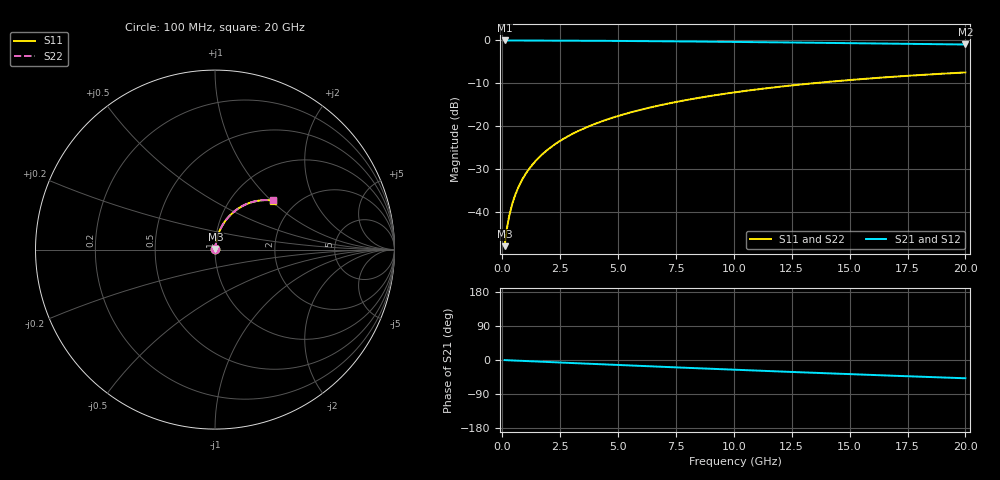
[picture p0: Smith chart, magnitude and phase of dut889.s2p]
! Touchstone file exported from HFSS 2026.1.0
!  File:  C:/ffzhzh/LocalFiles/Ansys_Project_Files/temp_train_TMRDL_889_1783157613_22436.aedt
!  Generated:  05:34:55 PM Jul  4, 2026
!  Design:  TMRDL
!  Project:  temp_train_TMRDL_889_1783157613_22436
! Variables:
!  h_bsmrdl = 2um
!  h_ox = 20um
!  h_rdl = 5um
!  h_sub = 80um
!  h_tmrdl = 4.75um
!  h_tsv = 80um
!  h_via = 3um
!  l_bsmrdl = 300um
!  l_sub = 1128.06um
!  l_tmrdl = 728.06um
!  m_sub = 200um
!  pitch = 49.74um
!  r_tsv = 6um
!  s_tmrdl = 10um
!  w_bsmrdl = 18um
!  w_sub = 500um
!  w_tmrdl = 21.34um
!  x_tsv_center1 = 738.73um
!  x_tsv_center2 = 1056.73um
!  x_tsv_center3 = 1806.13um
!  x_tsv_center4 = 2124.13um
!  x_tsv_center5 = 2873.53um
!  x_tsv_center6 = 3191.53um
# GHz S MA R 50.000000
! Terminal data exported
! Port[1] = TM_RDL1_1_T1
! Port[2] = TM_RDL1_1_T2
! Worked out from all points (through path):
!   200 points, 100 MHz to 20 GHz, reference 50 ohm
!   highest |S21| = -0.02 dB at 100 MHz (marker M1); lowest = -1.0 dB at 20 GHz (marker M2)
!   group delay of S21, straight-line fit = 6.7 ps
!   lowest |S11| = -48.0 dB at 100 MHz (marker M3), VSWR 1.01, Z = 50.3 + j0.295 ohm
!   |S11| at or under -10 dB: start of sweep to 13.42 GHz
!   |S22| runs from -48.0 to -7.5 dB; largest |S21 - S12| = 2.2e-15
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0.1  0.004001 47.2  0.9973 -0.3  0.9973 -0.3  0.004001 47.2
! Gamma 0 0 0 0
! Port Impedance 50 0 50 0
0.2  0.006448 63.0  0.9971 -0.6  0.9971 -0.6  0.006448 63.0
0.3  0.009026 69.6  0.9969 -0.8  0.9969 -0.8  0.009026 69.6
0.4  0.01163 73.3  0.9968 -1.1  0.9968 -1.1  0.01163 73.3
0.5  0.01426 75.7  0.9967 -1.4  0.9967 -1.4  0.01426 75.7
0.6  0.0169 77.2  0.9966 -1.6  0.9966 -1.6  0.0169 77.2
0.8  0.02221 79.1  0.9964 -2.2  0.9964 -2.2  0.02221 79.1
1.1  0.03024 80.4  0.996 -3.0  0.996 -3.0  0.03024 80.4
1.5  0.04094 80.7  0.9954 -4.0  0.9954 -4.0  0.04094 80.8
1.8  0.04895 80.6  0.9949 -4.8  0.9949 -4.8  0.04895 80.6
2.1  0.05693 80.2  0.9943 -5.6  0.9943 -5.6  0.05693 80.2
2.7  0.07274 79.2  0.9928 -7.2  0.9928 -7.2  0.07274 79.2
3.5  0.09351 77.5  0.9904 -9.3  0.9904 -9.3  0.09351 77.5
4.2  0.1114 75.9  0.9879 -11.1  0.9879 -11.1  0.1114 75.9
5  0.1314 74.0  0.9848 -13.2  0.9848 -13.2  0.1314 74.0
5.9  0.1534 71.9  0.981 -15.4  0.981 -15.4  0.1534 71.9
6.8  0.175 69.7  0.9768 -17.7  0.9768 -17.7  0.175 69.8
8.3  0.2097 66.2  0.9691 -21.4  0.9691 -21.4  0.2097 66.2
10.1  0.2493 62.0  0.959 -25.8  0.959 -25.8  0.2493 62.0
13.4  0.3158 54.4  0.9384 -33.6  0.9384 -33.6  0.3158 54.5
16.7  0.3736 47.2  0.9165 -41.1  0.9165 -41.1  0.3736 47.3
20  0.4227 40.2  0.8948 -48.2  0.8948 -48.2  0.4227 40.3
